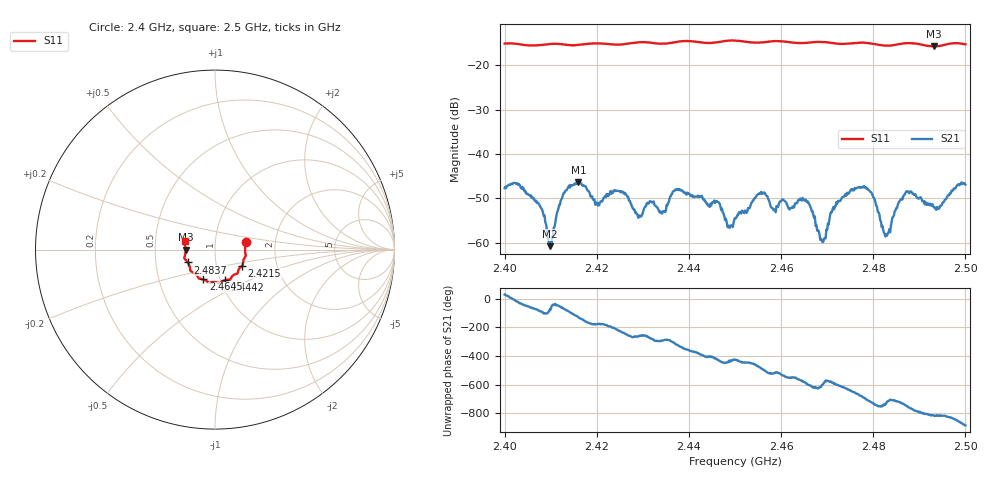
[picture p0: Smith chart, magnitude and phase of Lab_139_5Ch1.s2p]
# Hz S RI R 50
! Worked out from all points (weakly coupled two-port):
!   601 points, 2.4 GHz to 2.5 GHz, reference 50 ohm
!   highest |S21| = -46.31 dB at 2.416 GHz (marker M1); lowest = -60.8 dB at 2.4098 GHz (marker M2)
!   lowest |S11| = -15.7 dB at 2.4932 GHz (marker M3), VSWR 1.39, Z = 36 - j0.0585 ohm
!   |S11| at or under -10 dB: start of sweep to end of sweep
!   S12 and S22 are empty: the file has one direction only
!   S11 on the Smith chart (normalised r, x): 2.4 GHz: 1.41, +0.12; 2.4215 GHz: 1.33, -0.25; 2.4442 GHz: 1.05, -0.37; 2.4645 GHz: 0.83, -0.29; 2.4837 GHz: 0.73, -0.11; 2.5 GHz: 0.71, +0.07
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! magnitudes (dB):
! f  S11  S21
! 2.4 GHz  -15.1  -47.7
! 2.4073 GHz  -15.5  -51.1
! 2.4098 GHz  -15.2  -60.8
! 2.4127 GHz  -15.3  -49.2
! 2.416 GHz  -15.4  -46.3
! 2.4167 GHz  -15.3  -46.7
! 2.4215 GHz  -15.1  -49.9
! 2.4333 GHz  -15.1  -52.4
! 2.4375 GHz  -14.7  -47.9
! 2.4442 GHz  -15.0  -51.7
! 2.45 GHz  -14.4  -54.4
! 2.4555 GHz  -14.8  -48.8
! 2.4645 GHz  -15.0  -50.5
! 2.4667 GHz  -14.8  -52.9
! 2.4692 GHz  -14.7  -59.8
! 2.4722 GHz  -15.1  -51.2
! 2.478 GHz  -14.9  -47.2
! 2.4833 GHz  -15.6  -57.7
! 2.4837 GHz  -15.5  -57.7
! 2.4875 GHz  -15.0  -48.6
! 2.4932 GHz  -15.7  -52.0
! 2.5 GHz  -15.3  -46.9
